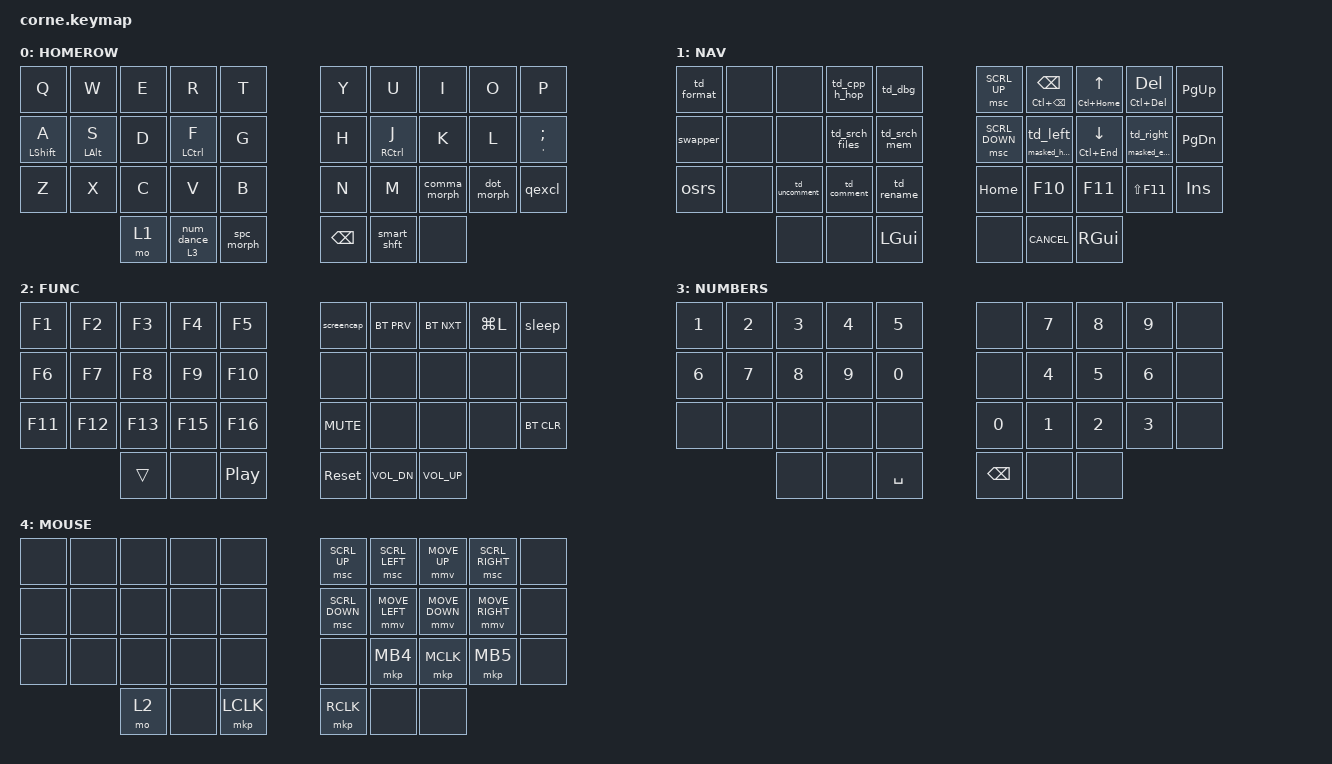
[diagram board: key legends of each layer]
/* source key position labels */
/*                              36 KEY MATRIX / LAYOUT MAPPING

  ╭────────────────────┬────────────────────╮ ╭─────────────────────┬─────────────────────╮
  │  0   1   2   3   4 │  5   6   7   8   9 │ │ LT4 LT3 LT2 LT1 LT0 │ RT0 RT1 RT2 RT3 RT4 │
  │ 10  11  12  13  14 │ 15  16  17  18  19 │ │ LM4 LM3 LM2 LM1 LM0 │ RM0 RM1 RM2 RM3 RM4 │
  │ 20  21  22  23  24 │ 25  26  27  28  29 │ │ LB4 LB3 LB2 LB1 LB0 │ RB0 RB1 RB2 RB3 RB4 │
  ╰───────╮ 30  31  32 │ 33  34  35 ╭───────╯ ╰───────╮ LH2 LH1 LH0 │ RH0 RH1 RH2 ╭───────╯
          ╰────────────┴────────────╯                 ╰─────────────┴─────────────╯             */
#define LT0  4  // left-top row
#define LT1  3
#define LT2  2
#define LT3  1
#define LT4  0

#define RT0  5  // right-top row
#define RT1  6
#define RT2  7
#define RT3  8
#define RT4  9

#define LM0 14  // left-middle row
#define LM1 13
#define LM2 12
#define LM3 11
#define LM4 10

#define RM0 15  // right-middle row
#define RM1 16
#define RM2 17
#define RM3 18
#define RM4 19

#define LB0 24  // left-bottom row
#define LB1 23
#define LB2 22
#define LB3 21
#define LB4 20

#define RB0 25  // right-bottom row
#define RB1 26
#define RB2 27
#define RB3 28
#define RB4 29

#define LH0 32  // left thumb keys
#define LH1 31
#define LH2 30

#define RH0 33  // right thumb keys
#define RH1 34
#define RH2 35

#define KEYS_L LT0 LT1 LT2 LT3 LT4 LM0 LM1 LM2 LM3 LM4 LB0 LB1 LB2 LB3 LB4  // left hand
#define KEYS_R RT0 RT1 RT2 RT3 RT4 RM0 RM1 RM2 RM3 RM4 RB0 RB1 RB2 RB3 RB4  // right hand
#define THUMBS LH2 LH1 LH0 RH0 RH1 RH2                                      // thumbs

/* activate bluetooth */
#define CONFIG_WIRELESS 1

#include <behaviors.dtsi>
#include <behaviors/num_word.dtsi> // requires auto-layer module
#include <dt-bindings/zmk/keys.h>
#if CONFIG_WIRELESS
    #include <dt-bindings/zmk/bt.h>
    #define _BT_SEL_KEYS_ &bt BT_SEL 0 &bt BT_SEL 1 &bt BT_SEL 2 &bt BT_SEL 3 &bt BT_CLR
#else
    #define _BT_SEL_KEYS_ &trans &trans &trans &trans &trans
#endif

// #define BASE 0
// #define NAV 1
// #define FN 2
// #define NUM 3
// #define MOUSE 4
// #define BDO 6
// #define BDONUM 7
// #define BDOXTRA 8

#define ZMK_MOUSE_DEFAULT_MOVE_VAL 1500  // 600
#define ZMK_MOUSE_DEFAULT_SCRL_VAL 20    // 10

#include <dt-bindings/zmk/mouse.h>

#define U_MS_U &mmv MOVE_UP
#define U_MS_D &mmv MOVE_DOWN
#define U_MS_L &mmv MOVE_LEFT
#define U_MS_R &mmv MOVE_RIGHT
#define U_WH_U &msc SCRL_UP
#define U_WH_D &msc SCRL_DOWN
#define U_WH_L &msc SCRL_LEFT
#define U_WH_R &msc SCRL_RIGHT

#define XXX &none
#define ___ &trans

#define QUICK_TAP_MS 150
#define HOLD_TAP_PRIOR_IDLE_MS 125

#define COMBO_TERM_FAST 18
#define COMBO_TERM_SLOW 40

#define COMBO_IDLE_FAST 175
#define COMBO_IDLE_SLOW 50

// make homerow combos tap-only (so HRMs can be chorded instantaneously)
#define HRC_TAB    &hml         LS(LALT) TAB
#define HRC_REPEAT &hml_repeat  LS(LCTRL) 0
#define HRC_LPAR   &hmr_lpar_lt RS(LCTRL) 0
#define HRC_RPAR   &hmr_rpar_gt RS(LALT) 0

#define SMART_NUM &smart_num 3 0
#define SMART_SPACE &spc_morph

#define NAV_LEFT  &mt_bgol 0 0    // tap: left  | long-tap: beginning of line
#define NAV_RIGHT &mt_eol 0 0     // tap: right | long-tap: end       of line
#define NAV_UP    &mt LC(HOME) UP      // tap: up    | long-tap: beginning of document
#define NAV_DOWN  &mt LC(END)  DOWN    // tap: down  | long-tap: end       of document
#define NAV_BSPC  &mt LC(BSPC) BSPC    // tap: bspc  | long-tap: delete word backward
#define NAV_DEL   &mt LC(DEL)  DEL     // tap: del   | long-tap: delete word forward

#define DBG_OVER &kp F10
#define DBG_INTO &kp F11
#define DBG_OUT &kp LS(F11)

#define CANCEL      &kp K_CANCEL             // cancel caps-word, num-word and smart-mouse
#define DSK_PREV    &hmr LCTRL LG(LC(LEFT))   // previous desktop
#define DSK_NEXT    &hmr LALT LG(LC(RIGHT)) // next     desktop
#define PIN_WIN     &kp LG(LC(LS(Q)))        // pin window across desktops
#define PIN_APP     &kp LG(LC(LS(A)))        // pin application across desktops
#define DSK_MNGR    &kp LA(GRAVE)            // desktop manager
#define VOL_DOWN    &hmr RSHFT C_VOL_DN
#define WIN_LOCK    &kp LG(L)

&sk {  // sticky-key config
    release-after-ms = <900>;  // release after 0.6s
    quick-release;             // no double capitalization when rolling keys
};

&sl {  // sticky-layer config
    ignore-modifiers;          // allow chording sticky mods & layers
};

&lt {  // layer-tap config
    flavor = "balanced";
    tapping-term-ms = <200>;
    quick-tap-ms = <QUICK_TAP_MS>;
};

&mt { // MT_CORE long-tap action on hold, short-tap action on all interrupts
    flavor = "tap-preferred";
    tapping-term-ms = <220>;
    quick-tap-ms = <QUICK_TAP_MS>;
    hold-trigger-key-positions = <0>;
};

&mmv {
  acceleration-exponent = <1>;      // 1
  time-to-max-speed-ms = <500>;    // 40
  delay-ms = <0>;                   // 0
};

&msc {
  acceleration-exponent = <1>;      // 0
  time-to-max-speed-ms = <40>;      // 500
  delay-ms = <0>;                   // 10
};

&caps_word {  // mods deactivate caps-word, requires PR #1451
    /delete-property/ ignore-modifiers;
};

/ {
    behaviors {
        hml: hml {
            compatible = "zmk,behavior-hold-tap";
            #binding-cells = <2>;
            flavor = "balanced";
            tapping-term-ms = <280>;
            quick-tap-ms = <QUICK_TAP_MS>;
            require-prior-idle-ms = <HOLD_TAP_PRIOR_IDLE_MS>;
            bindings = <&kp>, <&kp>;
            hold-trigger-key-positions = <KEYS_R THUMBS>;
            hold-trigger-on-release;
        };

        hmr: hmr {
            compatible = "zmk,behavior-hold-tap";
            #binding-cells = <2>;
            flavor = "balanced";
            tapping-term-ms = <280>;
            quick-tap-ms = <QUICK_TAP_MS>;
            require-prior-idle-ms = <HOLD_TAP_PRIOR_IDLE_MS>;
            bindings = <&kp>, <&kp>;
            hold-trigger-key-positions = <KEYS_L THUMBS>;
            hold-trigger-on-release;
        };

        hml_repeat: hml_repeat {
            compatible = "zmk,behavior-hold-tap";
            #binding-cells = <2>;
            flavor = "balanced";
            tapping-term-ms = <280>;
            quick-tap-ms = <QUICK_TAP_MS>;
            require-prior-idle-ms = <HOLD_TAP_PRIOR_IDLE_MS>;
            bindings = <&kp>, <&key_repeat>;
            hold-trigger-key-positions = <KEYS_R THUMBS>;
            hold-trigger-on-release;
        };

        mt_bgol: mt_bgol {
            compatible = "zmk,behavior-hold-tap";
            #binding-cells = <2>;
            flavor = "tap-preferred";
            tapping-term-ms = <240>;
            quick-tap-ms = <230>;
            hold-trigger-key-positions = <0>;
            bindings = <&masked_home>, <&td_left>;
        };

        td_left: td_left {
            compatible = "zmk,behavior-tap-dance";
            #binding-cells = <0>;
            tapping-term-ms = <220>;
            bindings = <&kp LEFT>, <&kp LC(LEFT)>;
        };
        
        mt_eol: mt_eol {
            compatible = "zmk,behavior-hold-tap";
            #binding-cells = <2>;
            flavor = "tap-preferred";
            tapping-term-ms = <240>;
            quick-tap-ms = <230>;
            hold-trigger-key-positions = <0>;
            bindings = <&masked_end>, <&td_right>;
        };
        
        td_right: td_right {
            compatible = "zmk,behavior-tap-dance";
            #binding-cells = <0>;
            tapping-term-ms = <220>;
            bindings = <&kp RIGHT>, <&kp LC(RIGHT)>;
        };

        masked_home: masked_home {
            compatible = "zmk,behavior-mod-morph";
            #binding-cells = <0>;
            bindings = <&kp HOME>, <&kp HOME>;
            mods = <(MOD_LCTL)>;
        };

        masked_end: masked_end {
            compatible = "zmk,behavior-mod-morph";
            #binding-cells = <0>;
            bindings = <&kp END>, <&kp END>;
            mods = <(MOD_LCTL)>;
        };

        /* Caps-word, num-word and smart-mouse */
        // tap: sticky-shift | shift + tap/ double-tap: caps-word | hold: shift
        smart_shft: smart_shft {
            compatible = "zmk,behavior-mod-morph";
            #binding-cells = <0>;
            bindings = <&sk LSHFT>, <&caps_word>;
            mods = <(MOD_LSFT)>;
        };

        // tap: num-word | double-tap: sticky num-layer | hold: num-layer
        smart_num: smart_num {
            compatible = "zmk,behavior-hold-tap";
            #binding-cells = <2>;
            flavor = "balanced";
            tapping-term-ms = <200>;
            bindings = <&mo>, <&num_dance>;
        };

        num_dance: num_dance {
            compatible = "zmk,behavior-tap-dance";
            #binding-cells = <0>;
            bindings = <&num_word 3>, <&sl 3>; // reverse this for sticky-num on single tap
            tapping-term-ms = <200>;
        };

        // smart-mouse, requires PR #1366
        smart_mouse: smart_mouse {
            compatible = "zmk,behavior-tri-state";
            #binding-cells = <0>;
            bindings = <&tog 4>, <&none>, <&tog 4>;
            ignored-key-positions = <LT0 LT1 LT2 LT3 LT4 LM0 LM1 LM2 LM3 LM4 LB0 LB1 LB2 LB3 LB4 LH0 RT0 RT1 RT2 RT3 RT4 RM0 RM1 RM2 RM3 RM4 RB0 RB1 RB2 RB3 RB4 RH0>;
            ignored-layers = <4>;
        };

        /* Custom behaviors */
        // Alt+Tab swapper, requires PR #1366
        swapper: swapper {
            compatible = "zmk,behavior-tri-state";
            #binding-cells = <0>;
            bindings = <&kt LALT>, <&kp TAB>, <&kt LALT>;
            ignored-key-positions = <LT2>;
        };

        // tap: comma | shift + tap: semicolon | ctrl + shift + tap: <
        comma_morph: comma_morph {
            compatible = "zmk,behavior-mod-morph";
            #binding-cells = <0>;
            bindings = <&kp COMMA>, <&comma_inner_morph>;
            mods = <(MOD_LSFT|MOD_RSFT)>;
        };
        
        comma_inner_morph: comma_inner_morph {
            compatible = "zmk,behavior-mod-morph";
            #binding-cells = <0>;
            bindings = <&kp SEMICOLON>, <&kp LESS_THAN>;
            mods = <(MOD_LCTL|MOD_RCTL)>;
        };

        // tap: dot | shift + tap: colon | ctrl + shift + tap: >
        dot_morph: dot_morph {
            compatible = "zmk,behavior-mod-morph";
            #binding-cells = <0>;
            bindings = <&kp DOT>, <&dot_inner_morph>;
            mods = <(MOD_LSFT|MOD_RSFT)>;
        };

        dot_inner_morph: dot_inner_morph {
            compatible = "zmk,behavior-mod-morph";
            #binding-cells = <0>;
            bindings = <&kp COLON>, <&kp GREATER_THAN>;
            mods = <(MOD_LCTL|MOD_RCTL)>;
        };

        // tap: qmark | shift + tap: excl
        qexcl: qexcl {
            compatible = "zmk,behavior-mod-morph";
            #binding-cells = <0>;
            bindings = <&kp QMARK>, <&kp EXCL>;
            mods = <(MOD_LSFT|MOD_RSFT)>;
        };

        lt_spc: lt_spc {
            compatible = "zmk,behavior-hold-tap";
            #binding-cells = <2>;
            flavor = "tap-preferred";
            tapping-term-ms = <200>;
            quick-tap-ms = <QUICK_TAP_MS>;
            global-quick-tap;
            bindings = <&mo>, <&spc_morph>;
        };

        // tap: space | shift + tap: dot -> space -> sticky shift
        spc_morph: spc_morph {
            compatible = "zmk,behavior-mod-morph";
            #binding-cells = <0>;
            bindings = <&kp SPACE>, <&dot_spc>;
            mods = <(MOD_LSFT|MOD_RSFT)>;
        };

        // tap: backspace | lshft + tap: delete | rshft + tap: shift-delete
        bs_del: bs_del {
            compatible = "zmk,behavior-mod-morph";
            #binding-cells = <0>;
            bindings = <&kp BSPC>, <&kp DEL>;
            mods = <(MOD_LSFT|MOD_RSFT)>;
            keep-mods = <MOD_RSFT>;
        };

        // tap: copy | double-tap: cut
        copy_cut: copy_cut {
            compatible = "zmk,behavior-tap-dance";
            #binding-cells = <0>;
            tapping-term-ms = <200>;
            bindings = <&kp LC(INS)>, <&kp LC(X)>;
        };

        td_dbg: td_dbg {
            compatible = "zmk,behavior-tap-dance";
            #binding-cells = <0>;
            tapping-term-ms = <350>;
            bindings = <&vsc_dbg>, <&vs_dbg>;
        };

        td_format: td_format {
            compatible = "zmk,behavior-tap-dance";
            #binding-cells = <0>;
            tapping-term-ms = <220>;
            bindings = <&vsc_format>, <&vs_format>;
        };

        td_cpp_h_hop: td_cpp_h_hop {
            compatible = "zmk,behavior-tap-dance";
            #binding-cells = <0>;
            tapping-term-ms = <220>;
            bindings = <&vsc_cpp_h_hop>, <&vs_cpp_h_hop>;
        };

        td_srch_files: td_srch_files {
            compatible = "zmk,behavior-tap-dance";
            #binding-cells = <0>;
            tapping-term-ms = <220>;
            bindings = <&vsc_search_files>, <&vs_search_files>;
        };

        td_srch_mem: td_srch_mem {
            compatible = "zmk,behavior-tap-dance";
            #binding-cells = <0>;
            tapping-term-ms = <220>;
            bindings = <&vsc_search_members>, <&vs_search_members>;
        };

        td_rename: td_rename {
            compatible = "zmk,behavior-tap-dance";
            #binding-cells = <0>;
            tapping-term-ms = <220>;
            bindings = <&vsc_rename>, <&vs_rename>;
        };

        td_comment: td_comment {
            compatible = "zmk,behavior-tap-dance";
            #binding-cells = <0>;
            tapping-term-ms = <220>;
            bindings = <&vsc_comment>, <&vs_comment>;
        };

        td_uncomment: td_uncomment {
            compatible = "zmk,behavior-tap-dance";
            #binding-cells = <0>;
            tapping-term-ms = <220>;
            bindings = <&vsc_uncomment>, <&vs_uncomment>;
        };
    };

    macros {
        sleep: sleep {
            compatible = "zmk,behavior-macro";
            #binding-cells = <0>;
            wait-ms = <500>;
            tap-ms = <50>;
            bindings = <&kp LG(X) &kp U &kp S>;
        };

        // end sentence 
        dot_spc: dot_spc {
            compatible = "zmk,behavior-macro";
            #binding-cells = <0>;
            wait-ms = <0>;
            tap-ms = <5>;
            bindings = <&kp DOT &kp SPACE &sk LSHFT>;
        };

        /* VS shortcuts */
        vs_rename: vs_rename {
            compatible = "zmk,behavior-macro";
            #binding-cells = <0>;
            bindings = 
                <&macro_press>, <&kp LEFT_CONTROL>,
                <&macro_tap>, <&kp R>,
                <&macro_tap>, <&kp R>,
                <&macro_release>, <&kp LEFT_CONTROL>;
        };

        vs_comment: vs_comment {
            compatible = "zmk,behavior-macro";
            #binding-cells = <0>;
            bindings = 
                <&macro_press>, <&kp LEFT_CONTROL>,
                <&macro_tap>, <&kp K>,
                <&macro_tap>, <&kp C>,
                <&macro_release>, <&kp LEFT_CONTROL>;
        };

        vs_uncomment: vs_uncomment {
            compatible = "zmk,behavior-macro";
            #binding-cells = <0>;
            bindings = 
                <&macro_press>, <&kp LEFT_CONTROL>,
                <&macro_tap>, <&kp K>,
                <&macro_tap>, <&kp U>,
                <&macro_release>, <&kp LEFT_CONTROL>;
        };

        vs_cpp_h_hop: vs_cpp_h_hop {
            compatible = "zmk,behavior-macro";
            #binding-cells = <0>;
            bindings = 
                <&macro_press>, <&kp LEFT_CONTROL>,
                <&macro_tap>, <&kp K>,
                <&macro_tap>, <&kp O>,
                <&macro_release>, <&kp LEFT_CONTROL>;
        };

        vs_search_files: vs_search_files {
            compatible = "zmk,behavior-macro";
            #binding-cells = <0>;
            bindings =
                <&macro_press>, <&kp LEFT_CONTROL>,
                <&macro_press>, <&kp LSHFT>,
                <&macro_tap>, <&kp T>,
                <&macro_release>, <&kp LSHFT>,
                <&macro_release>, <&kp LEFT_CONTROL>;
        };

        vs_search_members: vs_search_members {
            compatible = "zmk,behavior-macro";
            #binding-cells = <0>;
            bindings =
                <&macro_press>, <&kp LEFT_CONTROL>,
                <&macro_tap>, <&kp N1>,
                <&macro_tap>, <&kp M>,
                <&macro_release>, <&kp LEFT_CONTROL>;
        };

        vs_format: vs_format {
            compatible = "zmk,behavior-macro";
            #binding-cells = <0>;
            bindings = 
                <&macro_press>, <&kp LEFT_CONTROL>,
                <&macro_tap>, <&kp K>,
                <&macro_tap>, <&kp D>,
                <&macro_release>, <&kp LEFT_CONTROL>;
        };

        vs_dbg: vs_dbg {
            compatible = "zmk,behavior-macro";
            #binding-cells = <0>;
            bindings = <&kp LA(F5)>;
        };
        /* VS shortcuts */

        /* VS Code shortcuts */
        vsc_dbg: vsc_dbg {
            compatible = "zmk,behavior-macro";
            #binding-cells = <0>;
            bindings = <&kp F5>;
        };

        vsc_format: vsc_format {
            compatible = "zmk,behavior-macro";
            #binding-cells = <0>;
            bindings =
                <&macro_press>, <&kp LEFT_SHIFT>,
                <&macro_press>, <&kp LEFT_ALT>,
                <&macro_tap>, <&kp F>,
                <&macro_release>, <&kp LEFT_ALT>,
                <&macro_release>, <&kp LEFT_SHIFT>;
        };

        vsc_cpp_h_hop: vsc_cpp_h_hop {
            compatible = "zmk,behavior-macro";
            #binding-cells = <0>;
            bindings =
                <&macro_press>, <&kp LEFT_ALT>,
                <&macro_tap>, <&kp O>,
                <&macro_release>, <&kp LEFT_ALT>;
        };

        vsc_search_files: vsc_search_files {
            compatible = "zmk,behavior-macro";
            #binding-cells = <0>;
            bindings =
                <&macro_press>, <&kp LEFT_CONTROL>,
                <&macro_tap>, <&kp P>,
                <&macro_release>, <&kp LEFT_CONTROL>;
        };

        vsc_search_members: vsc_search_members {
            compatible = "zmk,behavior-macro";
            #binding-cells = <0>;
            bindings =
                <&macro_press>, <&kp LEFT_CONTROL>,
                <&macro_tap>, <&kp T>,
                <&macro_release>, <&kp LEFT_CONTROL>;
        };

        vsc_rename: vsc_rename {
            compatible = "zmk,behavior-macro";
            #binding-cells = <0>;
            bindings = <&kp F2>;
        };

        vsc_comment: vsc_comment {
            compatible = "zmk,behavior-macro";
            #binding-cells = <0>;
            bindings =
                <&macro_press>, <&kp LEFT_CONTROL>,
                <&macro_tap>, <&kp K>,
                <&macro_tap>, <&kp C>,
                <&macro_release>, <&kp LEFT_CONTROL>;
        };

        vsc_uncomment: vsc_uncomment {
            compatible = "zmk,behavior-macro";
            #binding-cells = <0>;
            bindings =
                <&macro_press>, <&kp LEFT_CONTROL>,
                <&macro_tap>, <&kp K>,
                <&macro_tap>, <&kp U>,
                <&macro_release>, <&kp LEFT_CONTROL>;
        };
        /* VS Code shortcuts */

        osrs: osrs {
            compatible = "zmk,behavior-macro";
            #binding-cells = <0>;
            bindings = 
                <&macro_press>, <&kp LEFT_ALT>,
                <&macro_tap>, <&kp GRAVE>,
                <&macro_release>, <&kp LEFT_ALT>;
        };

        screencap: screencap {
            compatible = "zmk,behavior-macro";
            #binding-cells = <0>;
            bindings = 
                <&macro_press>, <&kp LEFT_GUI>,
                <&macro_press>, <&kp LEFT_SHIFT>,
                <&macro_tap>, <&kp S>,
                <&macro_release>, <&kp LEFT_SHIFT>,
                <&macro_release>, <&kp LEFT_GUI>;
        };
    };

    combos {
        compatible = "zmk,combos";

        //////////////////////////////////////////////////////  LEFT  //////////////////////////////////////////////////////
        /* Horizontal combos - left hand */
        combo_esc {
            timeout-ms = <COMBO_TERM_SLOW>;
            bindings = <&kp ESC>;
            key-positions = <LT4 LT3>;
            layers = <0 1 3 4>;
            require-prior-idle-ms = <COMBO_IDLE_SLOW>;
        };

        combo_ret {
            timeout-ms = <COMBO_TERM_SLOW>;
            bindings = <&kp RETURN>;
            key-positions = <LM2 LM1>;
            layers = <0 1 3 4>;
            require-prior-idle-ms = <COMBO_IDLE_SLOW>;
        };

        combo_mouse {
            timeout-ms = <COMBO_TERM_SLOW>;
            bindings = <&smart_mouse>;
            key-positions = <LT3 LT1>;
            layers = <0 1 3>;
            require-prior-idle-ms = <COMBO_IDLE_SLOW>;
        };

        combo_tab {
            timeout-ms = <COMBO_TERM_SLOW>;
            bindings = <&kp TAB>;
            key-positions = <LM4 LM3>;   
            layers = <0 1 3 4>;
            require-prior-idle-ms = <COMBO_IDLE_SLOW>;
        };

        combo_cut {
            timeout-ms = <COMBO_TERM_SLOW>;
            bindings = <&kp LC(X)>;
            key-positions = <LB3 LB1>;
            layers = <0 1 3 4>;
            require-prior-idle-ms = <COMBO_IDLE_SLOW>;
        };
        
        combo_copy {
            timeout-ms = <COMBO_TERM_SLOW>;
            bindings = <&kp LC(C)>;
            key-positions = <LB3 LB2>;
            layers = <0 1 3 4>;
            require-prior-idle-ms = <COMBO_IDLE_SLOW>;
        };
        
        combo_paste {
            timeout-ms = <COMBO_TERM_SLOW>;
            bindings = <&kp LC(V)>;
            key-positions = <LB2 LB1>;
            layers = <0 1 3 4>;
            require-prior-idle-ms = <COMBO_IDLE_SLOW>;
        };

        combo_undo {
            timeout-ms = <COMBO_TERM_SLOW>;
            bindings = <&kp LC(Z)>;
            key-positions = <LB4 LB3>;
            layers = <0 1 3 4>;
            require-prior-idle-ms = <COMBO_IDLE_SLOW>;
        };

        combo_redo {
            timeout-ms = <COMBO_TERM_SLOW>;
            bindings = <&kp LC(Y)>;
            key-positions = <LB1 LB0>;
            layers = <0 1 3 4>;
            require-prior-idle-ms = <COMBO_IDLE_SLOW>;
        };

        combo_bspc {
            timeout-ms = <COMBO_TERM_SLOW>;
            bindings = <&kp BSPC>;
            key-positions = <LM3 LM2>;
            layers = <0 1 3 4>;
            require-prior-idle-ms = <COMBO_IDLE_SLOW>;
        };
        
        combo_del {
            timeout-ms = <COMBO_TERM_SLOW>;
            bindings = <&kp DEL>;
            key-positions = <LM1 LM0>;
            layers = <0 1 3 4>;
            require-prior-idle-ms = <COMBO_IDLE_SLOW>;
        };

        /* Vertical combos - left hand */
        combo_at {
            timeout-ms = <COMBO_TERM_SLOW>;
            bindings = <&kp AT>;
            key-positions = <LT3 LM3>;
            layers = <0 1 3>;
            require-prior-idle-ms = <COMBO_IDLE_SLOW>;
        };

        combo_hash {
            timeout-ms = <COMBO_TERM_SLOW>;
            bindings = <&kp HASH>;
            key-positions = <LT2 LM2>;
            layers = <0 1 3>;
            require-prior-idle-ms = <COMBO_IDLE_SLOW>;
        };

        combo_dllr {
            timeout-ms = <COMBO_TERM_SLOW>;
            bindings = <&kp DLLR>;
            key-positions = <LT1 LM1>;
            layers = <0 1 3>;
            require-prior-idle-ms = <COMBO_IDLE_SLOW>;
        };

        combo_prcnt {
            timeout-ms = <COMBO_TERM_SLOW>;
            bindings = <&kp PRCNT>;
            key-positions = <LT0 LM0>;
            layers = <0 1 3>;
            require-prior-idle-ms = <COMBO_IDLE_SLOW>;
        };

        combo_grave {
            timeout-ms = <COMBO_TERM_SLOW>;
            bindings = <&kp GRAVE>;
            key-positions = <LM3 LB3>;
            layers = <0 1 3>;
            require-prior-idle-ms = <COMBO_IDLE_SLOW>;
        };

        combo_bslh {
            timeout-ms = <COMBO_TERM_SLOW>;
            bindings = <&kp BSLH>;
            key-positions = <LM2 LB2>;
            layers = <0 1 3>;
            require-prior-idle-ms = <COMBO_IDLE_SLOW>;
        };

        combo_equal {
            timeout-ms = <COMBO_TERM_SLOW>;
            bindings = <&kp EQUAL>;
            key-positions = <LM1 LB1>;
            layers = <0 1 3>;
            require-prior-idle-ms = <COMBO_IDLE_SLOW>;
        };

        combo_tilde {
            timeout-ms = <COMBO_TERM_SLOW>;
            bindings = <&kp TILDE>;
            key-positions = <LM0 LB0>;
            layers = <0 1 3>;
            require-prior-idle-ms = <COMBO_IDLE_SLOW>;
        };

        combo_home {
            timeout-ms = <COMBO_TERM_SLOW>;
            bindings = <&to 0>;
            key-positions = <LM4 LT4>;
            layers = <1 2 3 4>;
            require-prior-idle-ms = <COMBO_IDLE_SLOW>;
        };

        combo_fn_sticky {
            timeout-ms = <COMBO_TERM_SLOW>;
            bindings = <&sl 2>;
            key-positions = <LH2 LH0>;
            layers = <0>;
            require-prior-idle-ms = <COMBO_IDLE_SLOW>;
        };

        //////////////////////////////////////////////////////  RIGHT  //////////////////////////////////////////////////////
        /* Horizontal combos - right hand */
        combo_lpar {
            timeout-ms = <COMBO_TERM_SLOW>;
            bindings = <&kp LPAR>;
            key-positions = <RM1 RM2>;
            layers = <0 3>;
            require-prior-idle-ms = <COMBO_IDLE_SLOW>;
        };
        
        combo_rpar {
            timeout-ms = <COMBO_TERM_SLOW>;
            bindings = <&kp RPAR>;
            key-positions = <RM2 RM3>;
            layers = <0 3>;
            require-prior-idle-ms = <COMBO_IDLE_SLOW>;
        };

        combo_lbkt {
            timeout-ms = <COMBO_TERM_SLOW>;
            bindings = <&kp LBKT>;
            key-positions = <RB1 RB2>;
            layers = <0 3>;
            require-prior-idle-ms = <COMBO_IDLE_SLOW>;
        };

        combo_rbkt {
            timeout-ms = <COMBO_TERM_SLOW>;
            bindings = <&kp RBKT>;
            key-positions = <RB2 RB3>;
            layers = <0 3>;
            require-prior-idle-ms = <COMBO_IDLE_SLOW>;
        };

        combo_lbrc {
            timeout-ms = <COMBO_TERM_SLOW>;
            bindings = <&kp LBRC>;
            key-positions = <RM1 RM2>;
            layers = <1>;
            require-prior-idle-ms = <COMBO_IDLE_SLOW>;
        };

        combo_rbrc {
            timeout-ms = <COMBO_TERM_SLOW>;
            bindings = <&kp RBRC>;
            key-positions = <RM2 RM3>;
            layers = <1>;
            require-prior-idle-ms = <COMBO_IDLE_SLOW>;
        };

        /* Vertical combos - right hand */
        combo_caret {
            timeout-ms = <COMBO_TERM_SLOW>;
            bindings = <&kp CARET>;
            key-positions = <RT0 RM0>;
            layers = <0 1 3>;
            require-prior-idle-ms = <COMBO_IDLE_SLOW>;
        };

        combo_plus {
            timeout-ms = <COMBO_TERM_SLOW>;
            bindings = <&kp PLUS>;
            key-positions = <RT1 RM1>;
            layers = <0 1 3>;
            require-prior-idle-ms = <COMBO_IDLE_SLOW>;
        };

        combo_star {
            timeout-ms = <COMBO_TERM_SLOW>;
            bindings = <&kp STAR>;
            key-positions = <RT2 RM2>;
            layers = <0 1 3>;
            require-prior-idle-ms = <COMBO_IDLE_SLOW>;
        };

        combo_amps {
            timeout-ms = <COMBO_TERM_SLOW>;
            bindings = <&kp AMPS>;
            key-positions = <RT3 RM3>;
            layers = <0 1 3>;
            require-prior-idle-ms = <COMBO_IDLE_SLOW>;
        };

        combo_under {
            timeout-ms = <COMBO_TERM_SLOW>;
            bindings = <&kp UNDER>;
            key-positions = <RM0 RB0>;
            layers = <0 1 3>;
            require-prior-idle-ms = <COMBO_IDLE_SLOW>;
        };

        combo_minus {
            timeout-ms = <COMBO_TERM_SLOW>;
            bindings = <&kp MINUS>;
            key-positions = <RM1 RB1>;
            layers = <0 1 3>;
            require-prior-idle-ms = <COMBO_IDLE_SLOW>;
        };

        combo_fslh {
            timeout-ms = <COMBO_TERM_SLOW>;
            bindings = <&kp FSLH>;
            key-positions = <RM2 RB2>;
            layers = <0 1 3>;
            require-prior-idle-ms = <COMBO_IDLE_SLOW>;
        };

        combo_pipe {
            timeout-ms = <COMBO_TERM_SLOW>;
            bindings = <&kp PIPE>;
            key-positions = <RM3 RB3>;
            layers = <0 1 3>;
            require-prior-idle-ms = <COMBO_IDLE_SLOW>;
        };
    };

    /* use 5-column layout for Corne Mini */
    chosen { 
        zmk,matrix_transform = &five_column_transform; 
    };

    keymap {
        compatible = "zmk,keymap";

        homerow_layer {
            label = "HOMEROW";
            bindings = <
            //╭─────────────┬─────────────┬─────────────┬─────────────┬─────────────╮ ╭─────────────┬─────────────┬─────────────┬─────────────┬─────────────╮
                &kp Q         &kp W         &kp E         &kp R         &kp T           &kp Y         &kp U         &kp I         &kp O         &kp P      
            //├─────────────┼─────────────┼─────────────┼─────────────┼─────────────┤ ├─────────────┼─────────────┼─────────────┼─────────────┼─────────────┤
                &hml LSHFT A  &hml LALT S   &kp D         &hml LCTRL F  &kp G           &kp H         &hmr RCTRL J  &kp K         &kp L         &hmr SQT SEMI  
            //├─────────────┼─────────────┼─────────────┼─────────────┼─────────────┤ ├─────────────┼─────────────┼─────────────┼─────────────┼─────────────┤
                &kp Z         &kp X         &kp C         &kp V         &kp B           &kp N         &kp M         &comma_morph  &dot_morph    &qexcl       
            //╰─────────────┼─────────────┴─────────────┼─────────────┼─────────────┤ ├─────────────┼─────────────┼─────────────┴───────────────────────────╯
                                            &mo 1         SMART_NUM     SMART_SPACE    &kp BACKSPACE  &smart_shft   XXX
            //                            ╰─────────────┴─────────────┴─────────────╯ ╰─────────────┴─────────────┴─────────────╯                            
            >;
        };

        navigation_layer {
            label = "NAV";
            bindings = <
            //╭─────────────┬─────────────┬─────────────┬─────────────┬─────────────╮ ╭─────────────┬─────────────┬─────────────┬─────────────┬─────────────╮
                &td_format    XXX           XXX          &td_cpp_h_hop  &td_dbg         U_WH_U        NAV_BSPC      NAV_UP        NAV_DEL       &kp PG_UP          
            //├─────────────┼─────────────┼─────────────┼─────────────┼─────────────┤ ├─────────────┼─────────────┼─────────────┼─────────────┼─────────────┤
                &swapper      XXX           XXX          &td_srch_files &td_srch_mem    U_WH_D        NAV_LEFT      NAV_DOWN      NAV_RIGHT     &kp PG_DN      
            //├─────────────┼─────────────┼─────────────┼─────────────┼─────────────┤ ├─────────────┼─────────────┼─────────────┼─────────────┼─────────────┤
                &osrs         XXX          &td_uncomment  &td_comment   &td_rename      &kp HOME      DBG_OVER      DBG_INTO      DBG_OUT       &kp INS          
            //╰─────────────┼─────────────┴─────────────┼─────────────┼─────────────┤ ├─────────────┼─────────────┼─────────────┴───────────────────────────╯
                                            XXX           XXX           &kp LGUI        XXX           CANCEL        &kp RGUI                                    
            //                            ╰─────────────┴─────────────┴─────────────╯ ╰─────────────┴─────────────┴─────────────╯                            
            >;
        };

        function_layer {
            label = "FUNC";
            bindings = <
            //╭─────────────┬─────────────┬─────────────┬─────────────┬─────────────╮ ╭─────────────┬─────────────┬─────────────┬─────────────┬─────────────╮
                &kp F1        &kp F2        &kp F3        &kp F4        &kp F5          &screencap    &bt BT_PRV    &bt BT_NXT    WIN_LOCK      &sleep   
            //├─────────────┼─────────────┼─────────────┼─────────────┼─────────────┤ ├─────────────┼─────────────┼─────────────┼─────────────┼─────────────┤
                &kp F6        &kp F7        &kp F8        &kp F9        &kp F10         XXX           XXX           XXX           XXX           XXX          
            //├─────────────┼─────────────┼─────────────┼─────────────┼─────────────┤ ├─────────────┼─────────────┼─────────────┼─────────────┼─────────────┤
                &kp F11       &kp F12       &kp F13       &kp F15       &kp F16         &kp C_MUTE    XXX           XXX           XXX           &bt BT_CLR
            //╰─────────────┼─────────────┴─────────────┼─────────────┼─────────────┤ ├─────────────┼─────────────┼─────────────┴───────────────────────────╯
                                            ___           XXX           &kp C_PP        &sys_reset    &kp C_VOL_DN  &kp C_VOL_UP                                    
            //                            ╰─────────────┴─────────────┴─────────────╯ ╰─────────────┴─────────────┴─────────────╯                            
            >;
        };

        numbers_layer {
            label = "NUMBERS";
            bindings = <
            //╭─────────────┬─────────────┬─────────────┬─────────────┬─────────────╮ ╭─────────────┬─────────────┬─────────────┬─────────────┬─────────────╮
                &kp N1        &kp N2        &kp N3        &kp N4        &kp N5          XXX           &kp N7        &kp N8        &kp N9        XXX          
            //├─────────────┼─────────────┼─────────────┼─────────────┼─────────────┤ ├─────────────┼─────────────┼─────────────┼─────────────┼─────────────┤
                &kp N6        &kp N7        &kp N8        &kp N9        &kp N0          XXX           &kp N4        &kp N5        &kp N6        XXX          
            //├─────────────┼─────────────┼─────────────┼─────────────┼─────────────┤ ├─────────────┼─────────────┼─────────────┼─────────────┼─────────────┤
                XXX           XXX           XXX           XXX           XXX             &kp N0        &kp N1        &kp N2        &kp N3        XXX          
            //╰─────────────┼─────────────┴─────────────┼─────────────┼─────────────┤ ├─────────────┼─────────────┼─────────────┴───────────────────────────╯
                                            XXX           XXX           &kp SPACE      &kp BACKSPACE  XXX           XXX                                    
            //                            ╰─────────────┴─────────────┴─────────────╯ ╰─────────────┴─────────────┴─────────────╯                            
            >;
        };

        mouse_layer {
            label = "MOUSE";
            bindings = <
            //╭─────────────┬─────────────┬─────────────┬─────────────┬─────────────╮ ╭─────────────┬─────────────┬─────────────┬─────────────┬─────────────╮
                XXX           XXX           XXX           XXX           XXX             U_WH_U        U_WH_L        U_MS_U         U_WH_R       XXX       
            //├─────────────┼─────────────┼─────────────┼─────────────┼─────────────┤ ├─────────────┼─────────────┼─────────────┼─────────────┼─────────────┤
                XXX           XXX           XXX           XXX           XXX             U_WH_D        U_MS_L        U_MS_D         U_MS_R       XXX          
            //├─────────────┼─────────────┼─────────────┼─────────────┼─────────────┤ ├─────────────┼─────────────┼─────────────┼─────────────┼─────────────┤
                XXX           XXX           XXX           XXX           XXX             XXX           &mkp MB4      &mkp MCLK      &mkp MB5     XXX          
            //╰─────────────┼─────────────┴─────────────┼─────────────┼─────────────┤ ├─────────────┼─────────────┼─────────────┴───────────────────────────╯
                                            &mo 2         XXX           &mkp LCLK       &mkp RCLK     XXX           XXX                                    
            //                            ╰─────────────┴─────────────┴─────────────╯ ╰─────────────┴─────────────┴─────────────╯                            
            >;
        };
    };
};
